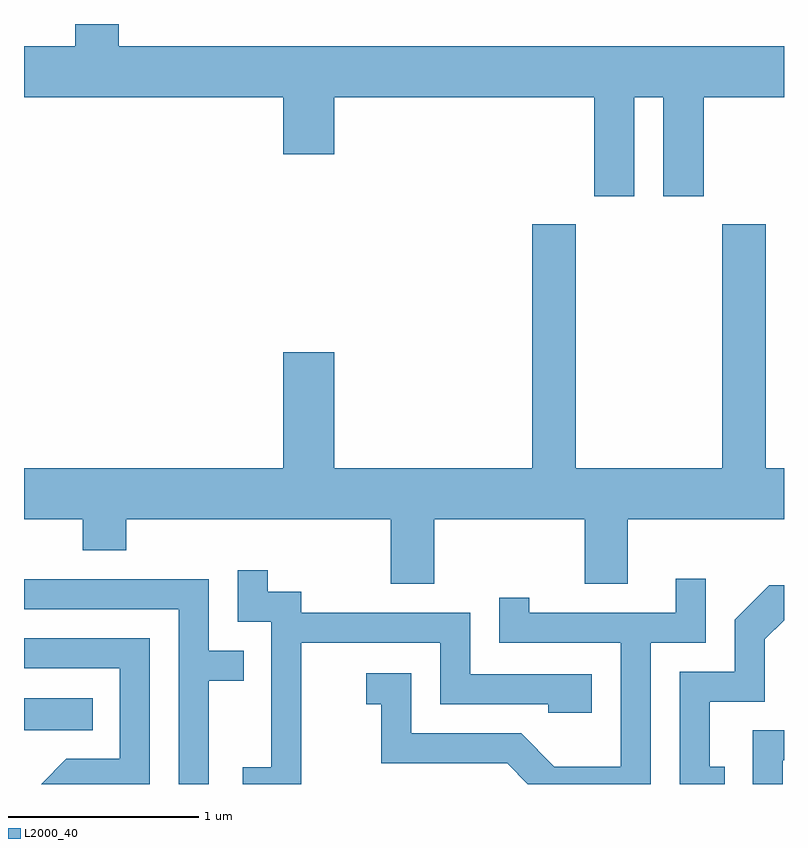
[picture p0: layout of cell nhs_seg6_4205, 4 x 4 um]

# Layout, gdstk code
import gdstk
lib = gdstk.Library(unit=1e-6, precision=1e-09)
def R(c, l, rs):  # rectangles x0, y0, x1, y1
    for r in rs: c.add(gdstk.rectangle(r[:2], r[2:], *l))
def P(c, l, *ps):  # polygons
    for p in ps: c.add(gdstk.Polygon(p, *l))
L2000_40 = (2000, 40)

nhs_seg6_4205 = lib.new_cell('nhs_seg6_4205')
R(nhs_seg6_4205, L2000_40, [(313.611,1584.446,313.973,1584.614)])
P(nhs_seg6_4205, L2000_40, [(316.824,1587.776),(316.976,1587.776),(316.976,1587.256),(317.189,1587.256),(317.189,1587.776),(317.611,1587.776),(317.611,1588.044),(314.109,1588.044),(314.109,1588.162),(313.881,1588.162),(313.881,1588.044),(313.611,1588.044),(313.611,1587.776),(314.976,1587.776),(314.976,1587.476),(315.244,1587.476),(315.244,1587.776),(316.611,1587.776),(316.611,1587.256),(316.824,1587.256)],
  [(315.769,1585.556),(316.561,1585.556),(316.561,1585.216),(316.789,1585.216),(316.789,1585.556),(317.611,1585.556),(317.611,1585.824),(317.514,1585.824),(317.514,1587.109),(317.286,1587.109),(317.286,1585.824),(316.514,1585.824),(316.514,1587.109),(316.286,1587.109),(316.286,1585.824),(315.244,1585.824),(315.244,1586.434),(314.976,1586.434),(314.976,1585.824),(313.611,1585.824),(313.611,1585.556),(313.921,1585.556),(313.921,1585.391),(314.149,1585.391),(314.149,1585.556),(315.541,1585.556),(315.541,1585.216),(315.769,1585.216)],
  [(315.069,1584.906),(315.801,1584.906),(315.801,1584.581),(316.371,1584.581),(316.371,1584.536),(316.599,1584.536),(316.599,1584.739),(315.959,1584.739),(315.959,1585.064),(315.069,1585.064),(315.069,1585.174),(314.894,1585.174),(314.894,1585.288),(314.736,1585.288),(314.736,1585.016),(314.911,1585.016),(314.911,1584.249),(314.761,1584.249),(314.761,1584.162),(315.069,1584.162)],
  [(316.909,1584.906),(317.199,1584.906),(317.199,1585.243),(317.041,1585.243),(317.041,1585.064),(316.269,1585.064),(316.269,1585.143),(316.111,1585.143),(316.111,1584.906),(316.751,1584.906),(316.751,1584.254),(316.402,1584.254),(316.227,1584.429),(315.649,1584.429),(315.649,1584.744),(315.413,1584.744),(315.413,1584.581),(315.491,1584.581),(315.491,1584.271),(316.154,1584.271),(316.263,1584.162),(316.909,1584.162)],
  [(314.584,1584.706),(314.768,1584.706),(314.768,1584.864),(314.584,1584.864),(314.584,1585.239),(313.611,1585.239),(313.611,1585.081),(314.426,1585.081),(314.426,1584.162),(314.584,1584.162)],
  [(317.298,1584.254),(317.219,1584.254),(317.219,1584.596),(317.509,1584.596),(317.509,1584.924),(317.611,1585.025),(317.611,1585.209),(317.534,1585.209),(317.351,1585.027),(317.351,1584.754),(317.061,1584.754),(317.061,1584.162),(317.298,1584.162)],
  [(314.274,1584.929),(313.611,1584.929),(313.611,1584.771),(314.116,1584.771),(314.116,1584.294),(313.834,1584.294),(313.702,1584.162),(314.274,1584.162)],
  [(317.604,1584.286),(317.611,1584.286),(317.611,1584.444),(317.446,1584.444),(317.446,1584.162),(317.604,1584.162)])

lib.write_gds('nhs_seg6_4205.gds')
